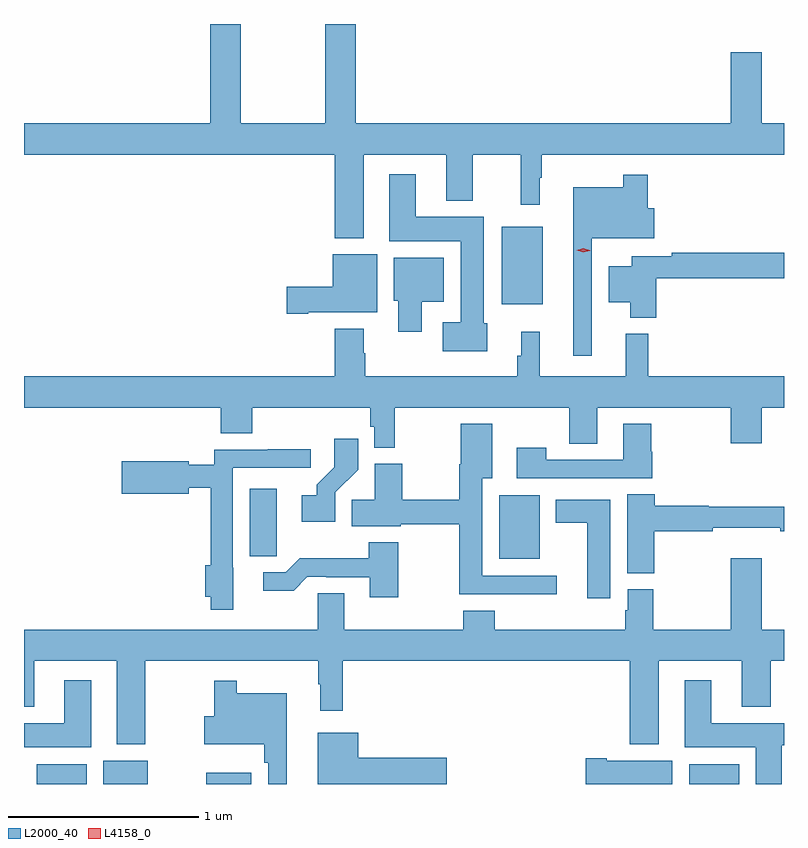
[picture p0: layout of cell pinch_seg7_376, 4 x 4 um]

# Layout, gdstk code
import gdstk
lib = gdstk.Library(unit=1e-6, precision=1e-09)
def R(c, l, rs):  # rectangles x0, y0, x1, y1
    for r in rs: c.add(gdstk.rectangle(r[:2], r[2:], *l))
def P(c, l, *ps):  # polygons
    for p in ps: c.add(gdstk.Polygon(p, *l))
L2000_40 = (2000, 40)
L4158_0 = (4158, 0)

pinch_seg7_376 = lib.new_cell('pinch_seg7_376')
R(pinch_seg7_376, L2000_40, [(425.09,1006.627,425.353,1006.732), (425.441,1006.627,425.674,1006.75), (425.984,1006.627,426.22,1006.687), (428.525,1006.627,428.788,1006.732), (427.526,1007.813,427.738,1008.148), (427.538,1009.151,427.753,1009.561)])
P(pinch_seg7_376, L2000_40, [(426.811,1009.94),(427.247,1009.94),(427.247,1009.697),(427.387,1009.697),(427.387,1009.94),(427.639,1009.94),(427.639,1009.677),(427.738,1009.677),(427.738,1009.817),(427.75,1009.817),(427.75,1009.94),(429.024,1009.94),(429.024,1010.104),(428.908,1010.104),(428.908,1010.479),(428.744,1010.479),(428.744,1010.104),(426.77,1010.104),(426.77,1010.627),(426.61,1010.627),(426.61,1010.104),(426.165,1010.104),(426.165,1010.627),(426.005,1010.627),(426.005,1010.104),(425.024,1010.104),(425.024,1009.94),(426.659,1009.94),(426.659,1009.499),(426.811,1009.499)],
  [(427.462,1009.053),(427.444,1009.053),(427.444,1009.612),(427.087,1009.612),(427.087,1009.837),(426.947,1009.837),(426.947,1009.484),(427.322,1009.484),(427.322,1009.057),(427.227,1009.057),(427.227,1008.905),(427.462,1008.905)],
  [(428.013,1009.499),(428.341,1009.499),(428.341,1009.657),(428.306,1009.657),(428.306,1009.834),(428.178,1009.834),(428.178,1009.768),(427.916,1009.768),(427.916,1008.882),(428.013,1008.882)],
  [(428.351,1009.288),(429.024,1009.288),(429.024,1009.424),(428.434,1009.424),(428.434,1009.404),(428.222,1009.404),(428.222,1009.351),(428.102,1009.351),(428.102,1009.163),(428.216,1009.163),(428.216,1009.082),(428.351,1009.082)],
  [(426.52,1009.109),(426.883,1009.109),(426.883,1009.414),(426.65,1009.414),(426.65,1009.244),(426.408,1009.244),(426.408,1009.102),(426.52,1009.102)],
  [(427.117,1009.166),(427.234,1009.166),(427.234,1009.396),(426.971,1009.396),(426.971,1009.17),(426.995,1009.17),(426.995,1009.008),(427.117,1009.008)],
  [(427.894,1008.418),(428.041,1008.418),(428.041,1008.608),(428.744,1008.608),(428.744,1008.42),(428.908,1008.42),(428.908,1008.608),(429.024,1008.608),(429.024,1008.772),(428.309,1008.772),(428.309,1008.997),(428.192,1008.997),(428.192,1008.772),(427.739,1008.772),(427.739,1009.006),(427.64,1009.006),(427.64,1008.881),(427.621,1008.881),(427.621,1008.772),(426.819,1008.772),(426.819,1008.893),(426.811,1008.893),(426.811,1009.024),(426.659,1009.024),(426.659,1008.772),(425.024,1008.772),(425.024,1008.608),(426.059,1008.608),(426.059,1008.472),(426.224,1008.472),(426.224,1008.608),(426.847,1008.608),(426.847,1008.507),(426.867,1008.507),(426.867,1008.398),(426.976,1008.398),(426.976,1008.608),(427.894,1008.608)],
  [(428.33,1008.375),(428.325,1008.375),(428.325,1008.523),(428.177,1008.523),(428.177,1008.333),(427.773,1008.333),(427.773,1008.397),(427.617,1008.397),(427.617,1008.237),(428.33,1008.237)],
  [(427.828,1007.724),(427.435,1007.724),(427.435,1008.236),(427.489,1008.236),(427.489,1008.523),(427.322,1008.523),(427.322,1008.309),(427.315,1008.309),(427.315,1008.124),(427.014,1008.124),(427.014,1008.313),(426.869,1008.313),(426.869,1008.122),(426.748,1008.122),(426.748,1007.984),(427.006,1007.984),(427.006,1007.995),(427.315,1007.995),(427.315,1007.627),(427.828,1007.627)],
  [(426.663,1008.163),(426.782,1008.282),(426.782,1008.445),(426.657,1008.445),(426.657,1008.293),(426.566,1008.203),(426.566,1008.148),(426.486,1008.148),(426.486,1008.008),(426.663,1008.008)],
  [(426.124,1007.766),(426.123,1007.766),(426.123,1008.291),(426.532,1008.291),(426.532,1008.39),(426.307,1008.39),(426.307,1008.387),(426.026,1008.387),(426.026,1008.307),(425.89,1008.307),(425.89,1008.325),(425.538,1008.325),(425.538,1008.155),(425.89,1008.155),(425.89,1008.186),(426.007,1008.186),(426.007,1007.778),(425.978,1007.778),(425.978,1007.612),(426.007,1007.612),(426.007,1007.544),(426.124,1007.544)],
  [(426.354,1007.938),(426.355,1007.938),(426.355,1008.181),(426.212,1008.181),(426.212,1007.827),(426.354,1007.827)],
  [(428.34,1007.956),(428.648,1007.956),(428.648,1007.975),(429.004,1007.975),(429.004,1007.956),(429.024,1007.956),(429.024,1008.085),(428.628,1008.085),(428.628,1008.092),(428.345,1008.092),(428.345,1008.152),(428.198,1008.152),(428.198,1007.737),(428.34,1007.737)],
  [(428.11,1008.124),(427.823,1008.124),(427.823,1008.002),(427.988,1008.002),(427.988,1007.604),(428.11,1007.604)],
  [(426.993,1007.899),(426.838,1007.899),(426.838,1007.815),(426.475,1007.815),(426.402,1007.742),(426.282,1007.742),(426.282,1007.645),(426.443,1007.645),(426.516,1007.718),(426.616,1007.718),(426.616,1007.715),(426.845,1007.715),(426.845,1007.61),(426.993,1007.61)],
  [(425.661,1007.276),(426.573,1007.276),(426.573,1007.153),(426.584,1007.153),(426.584,1007.013),(426.701,1007.013),(426.701,1007.276),(428.213,1007.276),(428.213,1006.835),(428.365,1006.835),(428.365,1007.276),(428.801,1007.276),(428.801,1007.033),(428.954,1007.033),(428.954,1007.276),(429.024,1007.276),(429.024,1007.44),(428.908,1007.44),(428.908,1007.815),(428.744,1007.815),(428.744,1007.44),(428.337,1007.44),(428.337,1007.652),(428.201,1007.652),(428.201,1007.541),(428.189,1007.541),(428.189,1007.44),(427.502,1007.44),(427.502,1007.539),(427.337,1007.539),(427.337,1007.44),(426.709,1007.44),(426.709,1007.63),(426.57,1007.63),(426.57,1007.44),(425.024,1007.44),(425.024,1007.033),(425.077,1007.033),(425.077,1007.276),(425.513,1007.276),(425.513,1006.835),(425.661,1006.835)],
  [(429.011,1006.83),(429.024,1006.83),(429.024,1006.948),(428.641,1006.948),(428.641,1007.173),(428.501,1007.173),(428.501,1006.82),(428.876,1006.82),(428.876,1006.627),(429.011,1006.627)],
  [(425.377,1007.173),(425.237,1007.173),(425.237,1006.948),(425.024,1006.948),(425.024,1006.82),(425.377,1006.82)],
  [(426.406,1007.104),(426.145,1007.104),(426.145,1007.17),(426.024,1007.17),(426.024,1006.983),(425.972,1006.983),(425.972,1006.835),(426.289,1006.835),(426.289,1006.739),(426.309,1006.739),(426.309,1006.627),(426.406,1006.627)],
  [(427.249,1006.766),(426.784,1006.766),(426.784,1006.897),(426.569,1006.897),(426.569,1006.627),(427.249,1006.627)],
  [(428.437,1006.75),(428.092,1006.75),(428.092,1006.763),(427.98,1006.763),(427.98,1006.627),(428.437,1006.627)])
P(pinch_seg7_376, L4158_0, [(427.967,1009.426),(427.932,1009.437),(427.932,1009.437),(427.932,1009.437),(427.967,1009.446),(428.002,1009.435),(428.003,1009.434),(428.002,1009.434)])

lib.write_gds('pinch_seg7_376.gds')
